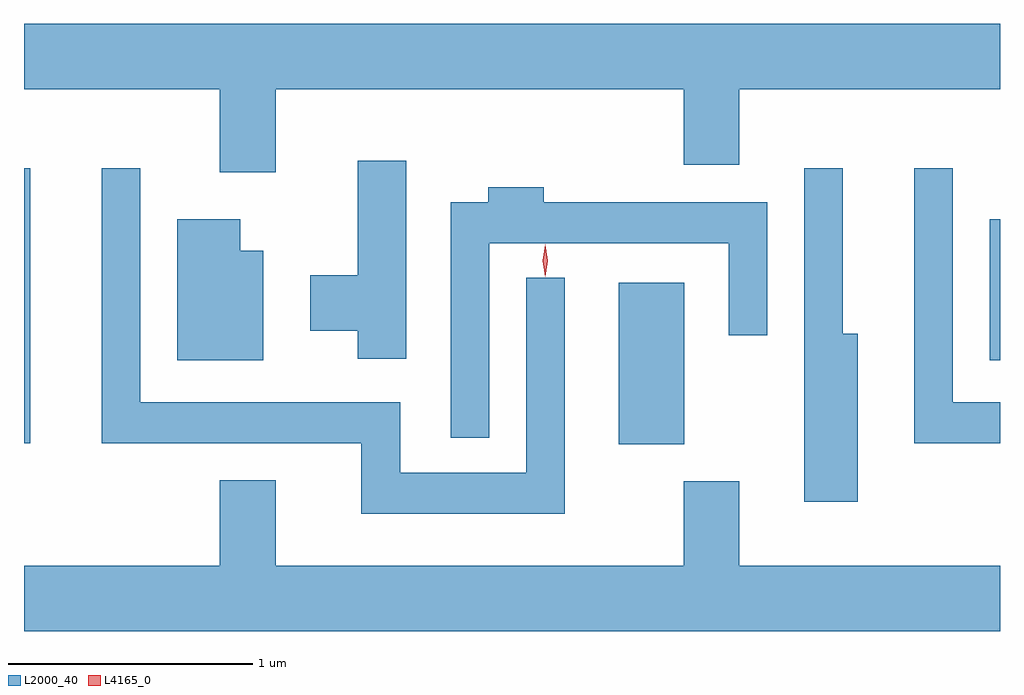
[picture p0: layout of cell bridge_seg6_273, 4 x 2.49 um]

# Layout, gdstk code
import gdstk
lib = gdstk.Library(unit=1e-6, precision=1e-09)
def R(c, l, rs):  # rectangles x0, y0, x1, y1
    for r in rs: c.add(gdstk.rectangle(r[:2], r[2:], *l))
def P(c, l, *ps):  # polygons
    for p in ps: c.add(gdstk.Polygon(p, *l))
L2000_40 = (2000, 40)
L4165_0 = (4165, 0)

bridge_seg6_273 = lib.new_cell('bridge_seg6_273')
R(bridge_seg6_273, L2000_40, [(1323.776,1559.681,1324.044,1560.344), (1321.338,1559.686,1321.364,1560.813), (1325.296,1560.026,1325.338,1560.604)])
P(bridge_seg6_273, L2000_40, [(1321.338,1561.136),(1322.141,1561.136),(1322.141,1560.796),(1322.369,1560.796),(1322.369,1561.136),(1324.041,1561.136),(1324.041,1560.826),(1324.269,1560.826),(1324.269,1561.136),(1325.338,1561.136),(1325.338,1561.404),(1321.338,1561.404)],
  [(1322.904,1560.844),(1322.706,1560.844),(1322.706,1560.374),(1322.511,1560.374),(1322.511,1560.146),(1322.706,1560.146),(1322.706,1560.031),(1322.904,1560.031)],
  [(1324.754,1560.134),(1324.694,1560.134),(1324.694,1560.813),(1324.536,1560.813),(1324.536,1559.446),(1324.754,1559.446)],
  [(1325.338,1559.854),(1325.144,1559.854),(1325.144,1560.813),(1324.986,1560.813),(1324.986,1559.686),(1325.338,1559.686)],
  [(1323.554,1560.363),(1323.396,1560.363),(1323.396,1559.564),(1322.879,1559.564),(1322.879,1559.854),(1321.814,1559.854),(1321.814,1560.813),(1321.656,1560.813),(1321.656,1559.686),(1322.721,1559.686),(1322.721,1559.396),(1323.554,1559.396)],
  [(1323.244,1560.506),(1324.226,1560.506),(1324.226,1560.128),(1324.384,1560.128),(1324.384,1560.674),(1323.469,1560.674),(1323.469,1560.734),(1323.241,1560.734),(1323.241,1560.674),(1323.086,1560.674),(1323.086,1559.708),(1323.244,1559.708)],
  [(1322.319,1560.474),(1322.224,1560.474),(1322.224,1560.604),(1321.966,1560.604),(1321.966,1560.026),(1322.319,1560.026)],
  [(1325.338,1559.184),(1324.269,1559.184),(1324.269,1559.529),(1324.041,1559.529),(1324.041,1559.184),(1322.369,1559.184),(1322.369,1559.534),(1322.141,1559.534),(1322.141,1559.184),(1321.338,1559.184),(1321.338,1558.916),(1325.338,1558.916)])
P(bridge_seg6_273, L4165_0, [(1323.475,1560.367),(1323.474,1560.368),(1323.465,1560.434),(1323.474,1560.5),(1323.475,1560.501),(1323.475,1560.5),(1323.485,1560.434),(1323.475,1560.368)])

lib.write_gds('bridge_seg6_273.gds')
